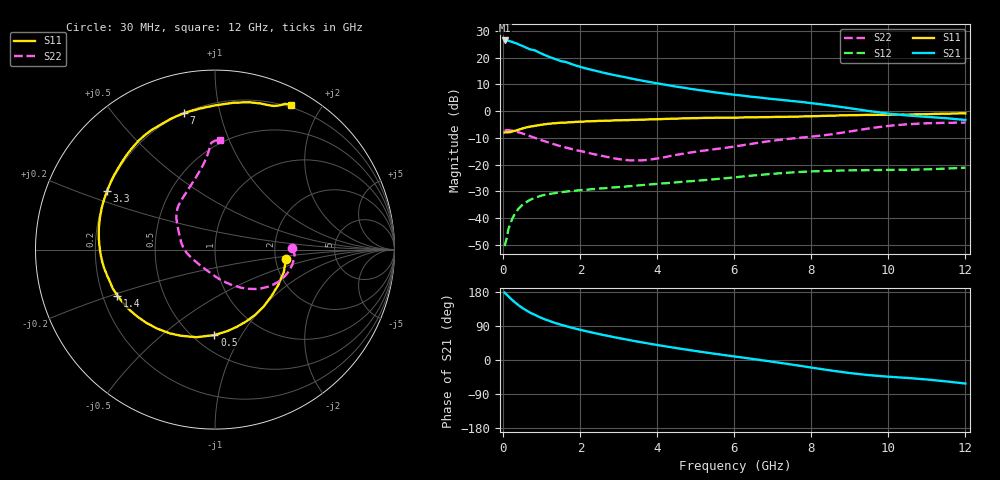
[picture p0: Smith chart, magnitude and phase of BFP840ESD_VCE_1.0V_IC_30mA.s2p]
! Infineon Technologies  Discrete & RF Semiconductors
! BFP840ESD
! VCE =  1.0 V,  IC =  30 mA
! Common Emitter S-Parameters:  May 2012
# GHz  S  MA  R  50
!  f  S11  S21  S12  S22
! GHz  MAG  ANG  MAG  ANG  MAG  ANG  MAG  ANG
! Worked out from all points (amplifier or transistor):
!   93 points, 30 MHz to 12 GHz, reference 50 ohm
!   highest |S21| = 26.4 dB at 30 MHz (marker M1)
!   |S21| within 3 dB of that: start of sweep to 637.3 MHz
!   unconditionally stable (mu >= 1): start of sweep to end of sweep
!   at 1.1 GHz: K = 1.04, MAG = 24.9 dB, |S12| = -31.2 dB
!   at 4.2 GHz: K = 1.77, MAG = 13.3 dB, |S12| = -27.0 dB
!   at 12 GHz: K = 1.27, MAG = 5.8 dB, |S12| = -21.1 dB
!   S11 on the Smith chart (normalised r, x): 30 MHz: 2.29, -0.27; 500 MHz: 0.63, -0.77; 1.4 GHz: 0.26, -0.21; 3.3 GHz: 0.20, +0.25; 7 GHz: 0.20, +0.78; 12 GHz: 0.17, +1.64
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0.03  0.3996 -7.2  20.99 177.9  0.003 48.9  0.4305 1.0
0.13  0.404 -29.1  20.7 167.8  0.0063 51.0  0.4421 -7.6
0.23  0.417 -49.3  19.71 158.1  0.0098 58.6  0.432 -14.6
0.28  0.4269 -58.3  19.14 153.7  0.0115 58.1  0.4246 -17.9
0.38  0.4474 -74.5  17.89 145.5  0.0147 55.1  0.406 -23.9
0.5  0.4761 -90.4  16.51 136.8  0.0181 52.6  0.3815 -30.3
0.7  0.516 -111.5  14.24 124.7  0.0222 46.6  0.3393 -39.3
0.8  0.53 -118.2  13.83 119.8  0.0238 44.4  0.3204 -43.3
1  0.56 -133.4  11.81 110.5  0.0266 40.5  0.2852 -50.0
1.2  0.5837 -145.2  10.28 102.8  0.0284 36.8  0.2565 -55.8
1.4  0.6011 -154.8  9.137 96.0  0.03 34.7  0.2307 -61.3
1.7  0.618 -166.4  7.919 87.3  0.0319 32.5  0.2019 -68.7
2.1  0.641 -180.0  6.417 77.1  0.034 29.6  0.1734 -78.7
2.6  0.6617 166.7  5.229 65.9  0.0362 28.9  0.1442 -92.6
3.3  0.6848 151.3  4.107 52.0  0.0398 27.6  0.1204 -121.0
4.1  0.7126 136.4  3.21 37.8  0.0445 26.3  0.1348 -157.2
5  0.7432 123.9  2.531 23.6  0.0501 24.2  0.1746 177.4
6.1  0.7606 112.5  1.994 8.0  0.059 21.0  0.2247 154.2
7  0.7788 102.8  1.688 -4.8  0.0675 15.2  0.2803 140.0
8.5  0.8244 82.9  1.275 -27.6  0.077 2.1  0.3675 113.9
10.5  0.8647 67.7  0.833 -47.4  0.0805 -11.2  0.57 92.9
12  0.9105 62.4  0.685 -62.1  0.088 -17.9  0.6131 87.6
